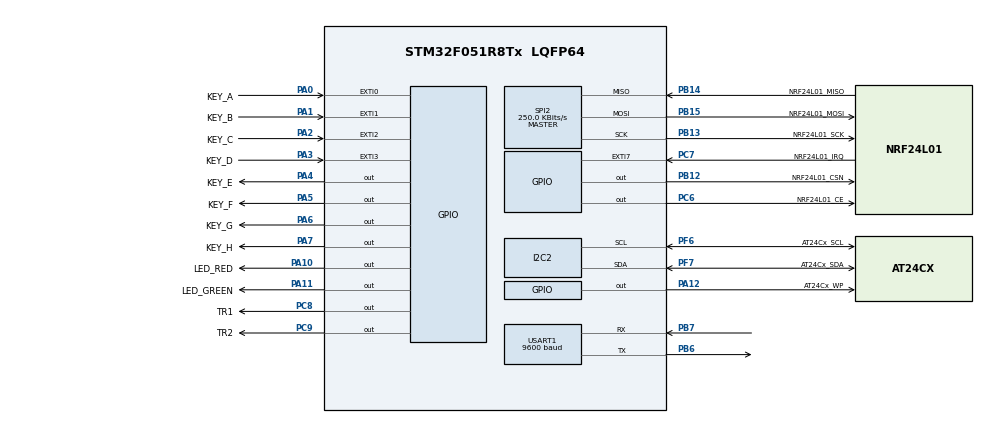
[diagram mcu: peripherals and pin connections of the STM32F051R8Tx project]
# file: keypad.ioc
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I2C2.Timing=0x00000103
Mcu.Family=STM32F0
Mcu.Name=STM32F051R8Tx
Mcu.Package=LQFP64
Mcu.UserConstants=prescalerValue,7999
NVIC.EXTI0_1_IRQn=true\:1\:0\:true\:false\:true\:true\:true
NVIC.EXTI2_3_IRQn=true\:1\:0\:true\:false\:true\:true\:true
NVIC.TIM3_IRQn=true\:0\:0\:false\:false\:true\:true\:true
PA0.GPIO_Label=KEY_A
PA0.GPIO_PuPd=GPIO_PULLDOWN
PA0.Signal=GPXTI0
PA0.Stacked=true
PA1.GPIO_Label=KEY_B
PA1.GPIO_PuPd=GPIO_PULLDOWN
PA1.Signal=GPXTI1
PA1.Stacked=true
PA10.GPIO_Label=LED_RED
PA10.GPIO_ModeDefaultOutputPP=GPIO_MODE_OUTPUT_PP
PA10.GPIO_PuPd=GPIO_NOPULL
PA10.GPIO_Speed=GPIO_SPEED_FREQ_LOW
PA10.PinState=GPIO_PIN_RESET
PA10.Signal=GPIO_Output
PA10.Stacked=true
PA11.GPIO_Label=LED_GREEN
PA11.GPIO_ModeDefaultOutputPP=GPIO_MODE_OUTPUT_PP
PA11.GPIO_PuPd=GPIO_NOPULL
PA11.GPIO_Speed=GPIO_SPEED_FREQ_LOW
PA11.PinState=GPIO_PIN_RESET
PA11.Signal=GPIO_Output
PA11.Stacked=true
PA12.GPIO_Label=AT24Cx_WP
PA12.PinState=GPIO_PIN_SET
PA12.Signal=GPIO_Output
PA12.Stacked=true
PA13.Mode=Serial_Wire
PA13.Signal=SYS_SWDIO
PA13.Stacked=true
PA14.Mode=Serial_Wire
PA14.Signal=SYS_SWCLK
PA14.Stacked=true
PA2.GPIO_Label=KEY_C
PA2.GPIO_PuPd=GPIO_PULLDOWN
PA2.Signal=GPXTI2
PA2.Stacked=true
PA3.GPIO_Label=KEY_D
PA3.GPIO_PuPd=GPIO_PULLDOWN
PA3.Signal=GPXTI3
PA3.Stacked=true
PA4.GPIO_Label=KEY_E
PA4.GPIO_PuPd=GPIO_NOPULL
PA4.PinState=GPIO_PIN_SET
PA4.Signal=SharedStack_PA4
PA4.Stacked=true
PA5.GPIO_Label=KEY_F
PA5.GPIO_PuPd=GPIO_NOPULL
PA5.PinState=GPIO_PIN_SET
PA5.Signal=SharedStack_PA5
PA5.Stacked=true
PA6.GPIO_Label=KEY_G
PA6.GPIO_PuPd=GPIO_NOPULL
PA6.PinState=GPIO_PIN_SET
PA6.Signal=SharedStack_PA6
PA6.Stacked=true
PA7.GPIO_Label=KEY_H
PA7.GPIO_PuPd=GPIO_NOPULL
PA7.PinState=GPIO_PIN_SET
PA7.Signal=SharedStack_PA7
PA7.Stacked=true
PB12.GPIO_Label=NRF24L01_CSN
PB12.GPIO_ModeDefaultOutputPP=GPIO_MODE_OUTPUT_PP
PB12.GPIO_PuPd=GPIO_NOPULL
PB12.PinState=GPIO_PIN_SET
PB12.Signal=GPIO_Output
PB12.Stacked=true
PB13.GPIO_Label=NRF24L01_SCK
PB13.Mode=Full_Duplex_Master
PB13.Signal=SPI2_SCK
PB13.Stacked=true
PB14.GPIO_Label=NRF24L01_MISO
PB14.Mode=Full_Duplex_Master
PB14.Signal=SPI2_MISO
PB15.GPIO_Label=NRF24L01_MOSI
PB15.Mode=Full_Duplex_Master
PB15.Signal=SPI2_MOSI
PB15.Stacked=true
PB6.Mode=Asynchronous
PB6.Signal=USART1_TX
PB6.Stacked=true
PB7.Mode=Asynchronous
PB7.Signal=USART1_RX
PB7.Stacked=true
PC6.GPIO_Label=NRF24L01_CE
PC6.Signal=GPIO_Output
PC6.Stacked=true
PC7.GPIO_Label=NRF24L01_IRQ
PC7.Signal=GPXTI7
PC7.Stacked=true
PC8.GPIO_Label=TR1
PC8.Signal=GPIO_Output
PC8.Stacked=true
PC9.GPIO_Label=TR2
PC9.Signal=GPIO_Output
PC9.Stacked=true
PF6.GPIO_Label=AT24Cx_SCL
PF6.Mode=I2C
PF6.Signal=I2C2_SCL
PF6.Stacked=true
PF7.GPIO_Label=AT24Cx_SDA
PF7.Mode=I2C
PF7.Signal=I2C2_SDA
PF7.Stacked=true
ProjectManager.HeapSize=0x200
ProjectManager.StackSize=0x400
ProjectManager.TargetToolchain=STM32CubeIDE
RCC.AHBCLKDivider=RCC_SYSCLK_DIV8
RCC.AHBFreq_Value=1000000
RCC.APB1Freq_Value=1000000
RCC.APB1TimFreq_Value=1000000
RCC.HCLKFreq_Value=1000000
SH.SharedStack_PA4.0=GPIO_Output
SH.SharedStack_PA5.0=GPIO_Output
SH.SharedStack_PA6.0=GPIO_Output
SH.SharedStack_PA7.0=GPIO_Output
SPI2.BaudRatePrescaler=SPI_BAUDRATEPRESCALER_4
SPI2.CalculateBaudRate=250.0 KBits/s
SPI2.DataSize=SPI_DATASIZE_8BIT
SPI2.Direction=SPI_DIRECTION_2LINES
SPI2.Mode=SPI_MODE_MASTER
SPI2.VirtualType=VM_MASTER
TIM3.CounterMode=TIM_COUNTERMODE_UP
TIM3.Period=1000-1
TIM3.Prescaler=(SystemCoreClock)/100000-1
USART1.BaudRate=9600
USART1.VirtualMode-Asynchronous=VM_ASYNC
VP_TIM3_VS_ClockSourceINT.Mode=Internal
VP_WWDG_VS_WWDG.Mode=WWDG_Activate
WWDG.Counter=127
WWDG.Prescaler=WWDG_PRESCALER_8
WWDG.Window=127
board=custom

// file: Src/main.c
/* USER CODE BEGIN Header */
/**
  ******************************************************************************
  * @file           : main.c
  * @brief          : Main program body
  ******************************************************************************
  * @attention
  *
  * <h2><center>&copy; Copyright (c) 2019 STMicroelectronics.
  * All rights reserved.</center></h2>
  *
  * This software component is licensed by ST under BSD 3-Clause license,
  * the "License"; You may not use this file except in compliance with the
  * License. You may obtain a copy of the License at:
  *                        opensource.org/licenses/BSD-3-Clause
  *
  ******************************************************************************
  */
/* USER CODE END Header */

#include "main.h"

/* USER CODE BEGIN Includes */
#include "StateMachine/sm.h"
#include "Utils/utils.h"
#include <stdio.h>
/* USER CODE END Includes */

I2C_HandleTypeDef hi2c2;

SPI_HandleTypeDef hspi2;

TIM_HandleTypeDef htim3;

UART_HandleTypeDef huart1;

WWDG_HandleTypeDef hwwdg;

/* USER CODE BEGIN PV */
#ifdef __GNUC__
/* With GCC, small printf (option LD Linker->Libraries->Small printf
   set to 'Yes') calls __io_putchar() */
#define PUTCHAR_PROTOTYPE int __io_putchar(int ch)
#else
#define PUTCHAR_PROTOTYPE int fputc(int ch, FILE *f)
#endif /* __GNUC__ */
// Retargets the C library printf function to the UART.
PUTCHAR_PROTOTYPE
{
  /* Place your implementation of fputc here */
  /* e.g. write a character to the USART2 and Loop until the end of transmission */
  HAL_UART_Transmit(&huart1, (uint8_t *)&ch, 1, 0xFFFF);

  return ch;
}
/* USER CODE END PV */

void SystemClock_Config(void);
static void MX_GPIO_Init(void);
static void MX_I2C2_Init(void);
static void MX_USART1_UART_Init(void);
static void MX_SPI2_Init(void);
static void MX_TIM3_Init(void);
static void MX_WWDG_Init(void);

int main(void)
{

  /* MCU Configuration--------------------------------------------------------*/

  /* Reset of all peripherals, Initializes the Flash interface and the Systick. */
  HAL_Init();

  /* Configure the system clock */
  SystemClock_Config();

  /* Initialize all configured peripherals */
  MX_GPIO_Init();
  MX_I2C2_Init();
  MX_USART1_UART_Init();
  MX_SPI2_Init();
  MX_TIM3_Init();
  MX_WWDG_Init();
  /* USER CODE BEGIN 2 */
  printf("\r\n\r\n\r\n>>> Hello from Garage Door KEYPAD <<< by luk6xff-2021\r\n");
  printf(">>> Build TIME:%s, DATE:%s\r\n", __TIME__, __DATE__);
  // State machine initialization
  sm_init();
  /* USER CODE END 2 */

  /* Infinite loop */
  /* USER CODE BEGIN WHILE */

  while (1)
  {
	const KeypadButtonPressed button_pressed = keypad_get_last_state_if_changed();
	sm_run(button_pressed);
    /* USER CODE END WHILE */

  }
}

void SystemClock_Config(void)
{
  RCC_OscInitTypeDef RCC_OscInitStruct = {0};
  RCC_ClkInitTypeDef RCC_ClkInitStruct = {0};
  RCC_PeriphCLKInitTypeDef PeriphClkInit = {0};

  /** Initializes the CPU, AHB and APB busses clocks
  */
  RCC_OscInitStruct.OscillatorType = RCC_OSCILLATORTYPE_HSI;
  RCC_OscInitStruct.HSIState = RCC_HSI_ON;
  RCC_OscInitStruct.HSICalibrationValue = RCC_HSICALIBRATION_DEFAULT;
  RCC_OscInitStruct.PLL.PLLState = RCC_PLL_NONE;
  if (HAL_RCC_OscConfig(&RCC_OscInitStruct) != HAL_OK)
  {
    Error_Handler();
  }
  /** Initializes the CPU, AHB and APB busses clocks
  */
  RCC_ClkInitStruct.ClockType = RCC_CLOCKTYPE_HCLK|RCC_CLOCKTYPE_SYSCLK
                              |RCC_CLOCKTYPE_PCLK1;
  RCC_ClkInitStruct.SYSCLKSource = RCC_SYSCLKSOURCE_HSI;
  RCC_ClkInitStruct.AHBCLKDivider = RCC_SYSCLK_DIV8;
  RCC_ClkInitStruct.APB1CLKDivider = RCC_HCLK_DIV1;

  if (HAL_RCC_ClockConfig(&RCC_ClkInitStruct, FLASH_LATENCY_0) != HAL_OK)
  {
    Error_Handler();
  }
  PeriphClkInit.PeriphClockSelection = RCC_PERIPHCLK_USART1;
  PeriphClkInit.Usart1ClockSelection = RCC_USART1CLKSOURCE_PCLK1;
  if (HAL_RCCEx_PeriphCLKConfig(&PeriphClkInit) != HAL_OK)
  {
    Error_Handler();
  }
}

static void MX_I2C2_Init(void)
{

  hi2c2.Instance = I2C2;
  hi2c2.Init.Timing = 0x00000103;
  hi2c2.Init.OwnAddress1 = 0;
  hi2c2.Init.AddressingMode = I2C_ADDRESSINGMODE_7BIT;
  hi2c2.Init.DualAddressMode = I2C_DUALADDRESS_DISABLE;
  hi2c2.Init.OwnAddress2 = 0;
  hi2c2.Init.OwnAddress2Masks = I2C_OA2_NOMASK;
  hi2c2.Init.GeneralCallMode = I2C_GENERALCALL_DISABLE;
  hi2c2.Init.NoStretchMode = I2C_NOSTRETCH_DISABLE;
  if (HAL_I2C_Init(&hi2c2) != HAL_OK)
  {
    Error_Handler();
  }
  /** Configure Analogue filter
  */
  if (HAL_I2CEx_ConfigAnalogFilter(&hi2c2, I2C_ANALOGFILTER_ENABLE) != HAL_OK)
  {
    Error_Handler();
  }
  /** Configure Digital filter
  */
  if (HAL_I2CEx_ConfigDigitalFilter(&hi2c2, 0) != HAL_OK)
  {
    Error_Handler();
  }

}

static void MX_SPI2_Init(void)
{

  /* SPI2 parameter configuration*/
  hspi2.Instance = SPI2;
  hspi2.Init.Mode = SPI_MODE_MASTER;
  hspi2.Init.Direction = SPI_DIRECTION_2LINES;
  hspi2.Init.DataSize = SPI_DATASIZE_8BIT;
  hspi2.Init.CLKPolarity = SPI_POLARITY_LOW;
  hspi2.Init.CLKPhase = SPI_PHASE_1EDGE;
  hspi2.Init.NSS = SPI_NSS_SOFT;
  hspi2.Init.BaudRatePrescaler = SPI_BAUDRATEPRESCALER_4;
  hspi2.Init.FirstBit = SPI_FIRSTBIT_MSB;
  hspi2.Init.TIMode = SPI_TIMODE_DISABLE;
  hspi2.Init.CRCCalculation = SPI_CRCCALCULATION_DISABLE;
  hspi2.Init.CRCPolynomial = 7;
  hspi2.Init.CRCLength = SPI_CRC_LENGTH_DATASIZE;
  hspi2.Init.NSSPMode = SPI_NSS_PULSE_ENABLE;
  if (HAL_SPI_Init(&hspi2) != HAL_OK)
  {
    Error_Handler();
  }

}

static void MX_TIM3_Init(void)
{

  TIM_ClockConfigTypeDef sClockSourceConfig = {0};
  TIM_MasterConfigTypeDef sMasterConfig = {0};

  /* USER CODE BEGIN TIM3_Init 1 */
  // Timer with cyclic interrupt of period 10[ms]
  /* USER CODE END TIM3_Init 1 */
  htim3.Instance = TIM3;
  htim3.Init.Prescaler = (SystemCoreClock)/100000-1;
  htim3.Init.CounterMode = TIM_COUNTERMODE_UP;
  htim3.Init.Period = 1000-1;
  htim3.Init.ClockDivision = TIM_CLOCKDIVISION_DIV1;
  htim3.Init.AutoReloadPreload = TIM_AUTORELOAD_PRELOAD_DISABLE;
  if (HAL_TIM_Base_Init(&htim3) != HAL_OK)
  {
    Error_Handler();
  }
  sClockSourceConfig.ClockSource = TIM_CLOCKSOURCE_INTERNAL;
  if (HAL_TIM_ConfigClockSource(&htim3, &sClockSourceConfig) != HAL_OK)
  {
    Error_Handler();
  }
  sMasterConfig.MasterOutputTrigger = TIM_TRGO_RESET;
  sMasterConfig.MasterSlaveMode = TIM_MASTERSLAVEMODE_DISABLE;
  if (HAL_TIMEx_MasterConfigSynchronization(&htim3, &sMasterConfig) != HAL_OK)
  {
    Error_Handler();
  }
  /* USER CODE BEGIN TIM3_Init 2 */
  HAL_TIM_Base_Start_IT(&htim3);
  /* USER CODE END TIM3_Init 2 */

}

static void MX_USART1_UART_Init(void)
{

  huart1.Instance = USART1;
  huart1.Init.BaudRate = 9600;
  huart1.Init.WordLength = UART_WORDLENGTH_8B;
  huart1.Init.StopBits = UART_STOPBITS_1;
  huart1.Init.Parity = UART_PARITY_NONE;
  huart1.Init.Mode = UART_MODE_TX_RX;
  huart1.Init.HwFlowCtl = UART_HWCONTROL_NONE;
  huart1.Init.OverSampling = UART_OVERSAMPLING_16;
  huart1.Init.OneBitSampling = UART_ONE_BIT_SAMPLE_DISABLE;
  huart1.AdvancedInit.AdvFeatureInit = UART_ADVFEATURE_NO_INIT;
  if (HAL_UART_Init(&huart1) != HAL_OK)
  {
    Error_Handler();
  }

}

static void MX_WWDG_Init(void)
{

  /* USER CODE BEGIN WWDG_Init 0 */
	/* WWDG clock counter = (PCLK1 (1MHz/4096)/8) = 30.52 Hz (~32.7 ms)
		WWDG Window value = 127 means that the WWDG counter should be refreshed only
		when the counter is below 127 (and greater than 64) otherwise a reset will
		be generated.
		WWDG Counter value = 127, WWDG timeout = 32.7 ms * 64 = 2.097 s
		In this case the refresh window is comprised between : ~32.7 * (127-127) = 0[ms] and ~32.7 * 64 = 2.097[s]
	*/
  /* USER CODE END WWDG_Init 0 */

  hwwdg.Instance = WWDG;
  hwwdg.Init.Prescaler = WWDG_PRESCALER_8;
  hwwdg.Init.Window = 127;
  hwwdg.Init.Counter = 127;
  hwwdg.Init.EWIMode = WWDG_EWI_DISABLE;
  if (HAL_WWDG_Init(&hwwdg) != HAL_OK)
  {
    Error_Handler();
  }

}

static void MX_GPIO_Init(void)
{
  GPIO_InitTypeDef GPIO_InitStruct = {0};

  /* GPIO Ports Clock Enable */
  __HAL_RCC_GPIOC_CLK_ENABLE();
  __HAL_RCC_GPIOF_CLK_ENABLE();
  __HAL_RCC_GPIOA_CLK_ENABLE();
  __HAL_RCC_GPIOB_CLK_ENABLE();
  __HAL_RCC_GPIOD_CLK_ENABLE();

  /*Configure GPIO pin Output Level */
  HAL_GPIO_WritePin(GPIOA, KEY_E_Pin|KEY_F_Pin|KEY_G_Pin|KEY_H_Pin
                          |AT24Cx_WP_Pin, GPIO_PIN_SET);

  /*Configure GPIO pin Output Level */
  HAL_GPIO_WritePin(NRF24L01_CSN_GPIO_Port, NRF24L01_CSN_Pin, GPIO_PIN_SET);

  /*Configure GPIO pin Output Level */
  HAL_GPIO_WritePin(GPIOC, NRF24L01_CE_Pin|TR1_Pin|TR2_Pin, GPIO_PIN_RESET);

  /*Configure GPIO pin Output Level */
  HAL_GPIO_WritePin(GPIOA, LED_RED_Pin|LED_GREEN_Pin, GPIO_PIN_RESET);

  /*Configure GPIO pins : PC13 PC14 PC15 PC0
                           PC1 PC2 PC3 PC4
                           PC5 PC10 PC11 PC12 */
  GPIO_InitStruct.Pin = GPIO_PIN_13|GPIO_PIN_14|GPIO_PIN_15|GPIO_PIN_0
                          |GPIO_PIN_1|GPIO_PIN_2|GPIO_PIN_3|GPIO_PIN_4
                          |GPIO_PIN_5|GPIO_PIN_10|GPIO_PIN_11|GPIO_PIN_12;
  GPIO_InitStruct.Mode = GPIO_MODE_ANALOG;
  GPIO_InitStruct.Pull = GPIO_NOPULL;
  HAL_GPIO_Init(GPIOC, &GPIO_InitStruct);

  /*Configure GPIO pins : PF0 PF1 PF4 PF5 */
  GPIO_InitStruct.Pin = GPIO_PIN_0|GPIO_PIN_1|GPIO_PIN_4|GPIO_PIN_5;
  GPIO_InitStruct.Mode = GPIO_MODE_ANALOG;
  GPIO_InitStruct.Pull = GPIO_NOPULL;
  HAL_GPIO_Init(GPIOF, &GPIO_InitStruct);

  /*Configure GPIO pins : KEY_A_Pin KEY_B_Pin KEY_C_Pin KEY_D_Pin */
  GPIO_InitStruct.Pin = KEY_A_Pin|KEY_B_Pin|KEY_C_Pin|KEY_D_Pin;
  GPIO_InitStruct.Mode = GPIO_MODE_IT_RISING;
  GPIO_InitStruct.Pull = GPIO_PULLDOWN;
  HAL_GPIO_Init(GPIOA, &GPIO_InitStruct);

  /*Configure GPIO pins : KEY_E_Pin KEY_F_Pin KEY_G_Pin KEY_H_Pin
                           LED_RED_Pin LED_GREEN_Pin AT24Cx_WP_Pin */
  GPIO_InitStruct.Pin = KEY_E_Pin|KEY_F_Pin|KEY_G_Pin|KEY_H_Pin
                          |LED_RED_Pin|LED_GREEN_Pin|AT24Cx_WP_Pin;
  GPIO_InitStruct.Mode = GPIO_MODE_OUTPUT_PP;
  GPIO_InitStruct.Pull = GPIO_NOPULL;
  GPIO_InitStruct.Speed = GPIO_SPEED_FREQ_LOW;
  HAL_GPIO_Init(GPIOA, &GPIO_InitStruct);

  /*Configure GPIO pins : PB0 PB1 PB2 PB10
                           PB11 PB3 PB4 PB5
                           PB8 PB9 */
  GPIO_InitStruct.Pin = GPIO_PIN_0|GPIO_PIN_1|GPIO_PIN_2|GPIO_PIN_10
                          |GPIO_PIN_11|GPIO_PIN_3|GPIO_PIN_4|GPIO_PIN_5
                          |GPIO_PIN_8|GPIO_PIN_9;
  GPIO_InitStruct.Mode = GPIO_MODE_ANALOG;
  GPIO_InitStruct.Pull = GPIO_NOPULL;
  HAL_GPIO_Init(GPIOB, &GPIO_InitStruct);

  /*Configure GPIO pin : NRF24L01_CSN_Pin */
  GPIO_InitStruct.Pin = NRF24L01_CSN_Pin;
  GPIO_InitStruct.Mode = GPIO_MODE_OUTPUT_PP;
  GPIO_InitStruct.Pull = GPIO_NOPULL;
  GPIO_InitStruct.Speed = GPIO_SPEED_FREQ_LOW;
  HAL_GPIO_Init(NRF24L01_CSN_GPIO_Port, &GPIO_InitStruct);

  /*Configure GPIO pins : NRF24L01_CE_Pin TR1_Pin TR2_Pin */
  GPIO_InitStruct.Pin = NRF24L01_CE_Pin|TR1_Pin|TR2_Pin;
  GPIO_InitStruct.Mode = GPIO_MODE_OUTPUT_PP;
  GPIO_InitStruct.Pull = GPIO_NOPULL;
  GPIO_InitStruct.Speed = GPIO_SPEED_FREQ_LOW;
  HAL_GPIO_Init(GPIOC, &GPIO_InitStruct);

  /*Configure GPIO pin : NRF24L01_IRQ_Pin */
  GPIO_InitStruct.Pin = NRF24L01_IRQ_Pin;
  GPIO_InitStruct.Mode = GPIO_MODE_IT_RISING;
  GPIO_InitStruct.Pull = GPIO_NOPULL;
  HAL_GPIO_Init(NRF24L01_IRQ_GPIO_Port, &GPIO_InitStruct);

  /*Configure GPIO pins : PA8 PA9 PA15 */
  GPIO_InitStruct.Pin = GPIO_PIN_8|GPIO_PIN_9|GPIO_PIN_15;
  GPIO_InitStruct.Mode = GPIO_MODE_ANALOG;
  GPIO_InitStruct.Pull = GPIO_NOPULL;
  HAL_GPIO_Init(GPIOA, &GPIO_InitStruct);

  /*Configure GPIO pin : PD2 */
  GPIO_InitStruct.Pin = GPIO_PIN_2;
  GPIO_InitStruct.Mode = GPIO_MODE_ANALOG;
  GPIO_InitStruct.Pull = GPIO_NOPULL;
  HAL_GPIO_Init(GPIOD, &GPIO_InitStruct);

  /* EXTI interrupt init*/
  HAL_NVIC_SetPriority(EXTI0_1_IRQn, 1, 0);
  HAL_NVIC_EnableIRQ(EXTI0_1_IRQn);

  HAL_NVIC_SetPriority(EXTI2_3_IRQn, 1, 0);
  HAL_NVIC_EnableIRQ(EXTI2_3_IRQn);

}

void Error_Handler(void)
{
}

/************************ (C) COPYRIGHT STMicroelectronics *****END OF FILE****/
